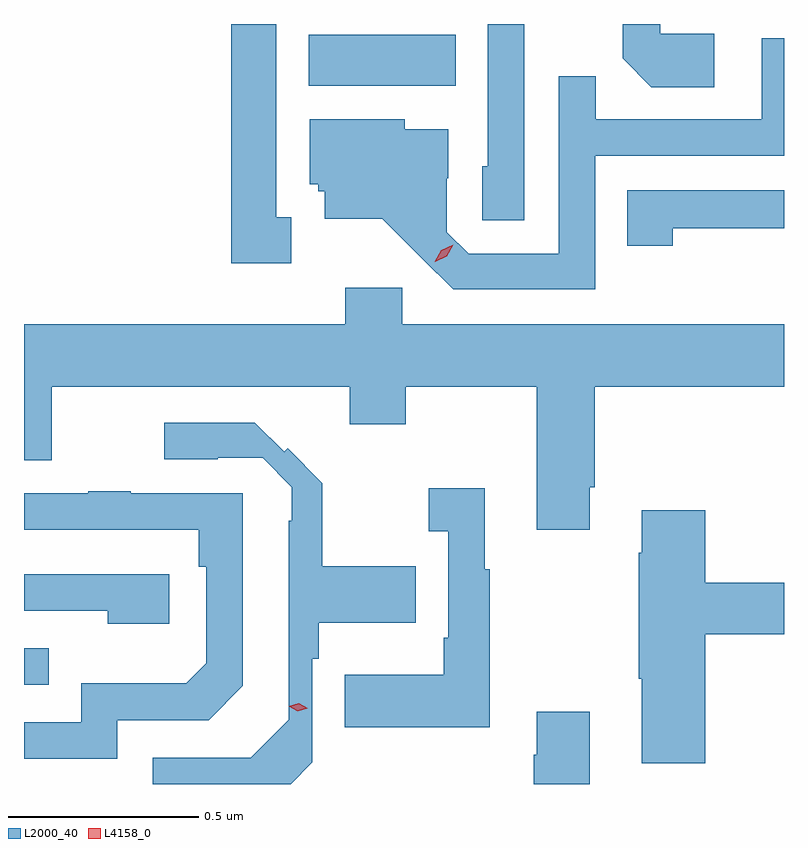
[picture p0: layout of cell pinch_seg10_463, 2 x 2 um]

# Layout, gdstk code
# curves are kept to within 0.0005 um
import gdstk
lib = gdstk.Library(unit=1e-6, precision=1e-09)
def R(c, l, rs):  # rectangles x0, y0, x1, y1
    for r in rs: c.add(gdstk.rectangle(r[:2], r[2:], *l))
def P(c, l, *ps):  # polygons
    for p in ps: c.add(gdstk.Polygon(p, *l))
L2000_40 = (2000, 40)
L4158_0 = (4158, 0)

pinch_seg10_463 = lib.new_cell('pinch_seg10_463')
R(pinch_seg10_463, L2000_40, [(358.176,1304.859,358.241,1304.955), (358.925,1306.436,359.312,1306.57)])
P(pinch_seg10_463, L2000_40, [(359.992,1306.572),(359.85,1306.572),(359.85,1306.598),(359.751,1306.598),(359.751,1306.508),(359.827,1306.432),(359.992,1306.432)],
  [(358.879,1306.089),(358.84,1306.089),(358.84,1306.598),(358.722,1306.598),(358.722,1305.969),(358.879,1305.969)],
  [(359.493,1306.598),(359.397,1306.598),(359.397,1306.224),(359.382,1306.224),(359.382,1306.081),(359.493,1306.081)],
  [(359.679,1306.251),(360.176,1306.251),(360.176,1306.561),(360.117,1306.561),(360.117,1306.347),(359.681,1306.347),(359.681,1306.46),(359.583,1306.46),(359.583,1305.993),(359.346,1305.993),(359.289,1306.05),(359.289,1306.192),(359.293,1306.192),(359.293,1306.321),(359.178,1306.321),(359.178,1306.348),(358.928,1306.348),(358.928,1306.176),(358.95,1306.176),(358.95,1306.158),(358.967,1306.158),(358.967,1306.085),(359.119,1306.085),(359.306,1305.9),(359.679,1305.9)],
  [(359.883,1306.06),(360.176,1306.06),(360.176,1306.161),(359.764,1306.161),(359.764,1306.014),(359.883,1306.014)],
  [(359.021,1305.808),(358.176,1305.808),(358.176,1305.45),(358.249,1305.45),(358.249,1305.644),(359.033,1305.644),(359.033,1305.545),(359.181,1305.545),(359.181,1305.644),(359.525,1305.644),(359.525,1305.267),(359.665,1305.267),(359.665,1305.379),(359.678,1305.379),(359.678,1305.644),(360.176,1305.644),(360.176,1305.808),(359.172,1305.808),(359.172,1305.904),(359.021,1305.904)],
  [(358.935,1304.655),(358.935,1304.927),(358.951,1304.927),(358.951,1305.023),(359.207,1305.023),(359.207,1305.171),(358.961,1305.171),(358.961,1305.389),(358.87,1305.481),(358.861,1305.472),(358.783,1305.549),(358.545,1305.549),(358.545,1305.453),(358.686,1305.453),(358.686,1305.456),(358.804,1305.456),(358.881,1305.379),(358.881,1305.291),(358.873,1305.291),(358.873,1304.767),(358.773,1304.667),(358.515,1304.667),(358.515,1304.598),(358.878,1304.598)],
  [(359.401,1305.163),(359.389,1305.163),(359.389,1305.376),(359.241,1305.376),(359.241,1305.263),(359.292,1305.263),(359.292,1304.983),(359.28,1304.983),(359.28,1304.885),(359.02,1304.885),(359.02,1304.747),(359.401,1304.747)],
  [(358.422,1304.766),(358.662,1304.766),(358.752,1304.856),(358.752,1305.363),(358.457,1305.363),(358.457,1305.368),(358.345,1305.368),(358.345,1305.363),(358.176,1305.363),(358.176,1305.267),(358.636,1305.267),(358.636,1305.17),(358.656,1305.17),(358.656,1304.916),(358.603,1304.863),(358.326,1304.863),(358.326,1304.76),(358.176,1304.76),(358.176,1304.664),(358.422,1304.664)],
  [(359.969,1304.992),(360.176,1304.992),(360.176,1305.128),(359.969,1305.128),(359.969,1305.319),(359.801,1305.319),(359.801,1305.206),(359.794,1305.206),(359.794,1304.875),(359.801,1304.875),(359.801,1304.652),(359.969,1304.652)],
  [(358.558,1305.15),(358.176,1305.15),(358.176,1305.054),(358.397,1305.054),(358.397,1305.02),(358.558,1305.02)],
  [(359.665,1304.788),(359.525,1304.788),(359.525,1304.675),(359.518,1304.675),(359.518,1304.598),(359.665,1304.598)])
P(pinch_seg10_463, L4158_0, [(359.257,1305.972),(359.257,1305.972),(359.274,1306.002),(359.305,1306.017),(359.305,1306.017),(359.305,1306.017),(359.288,1305.987),(359.258,1305.972)],
  [(358.897,1304.79),(358.873,1304.802),(358.873,1304.803),(358.873,1304.803),(358.899,1304.81),(358.923,1304.798),(358.923,1304.798),(358.923,1304.798)])

lib.write_gds('pinch_seg10_463.gds')
